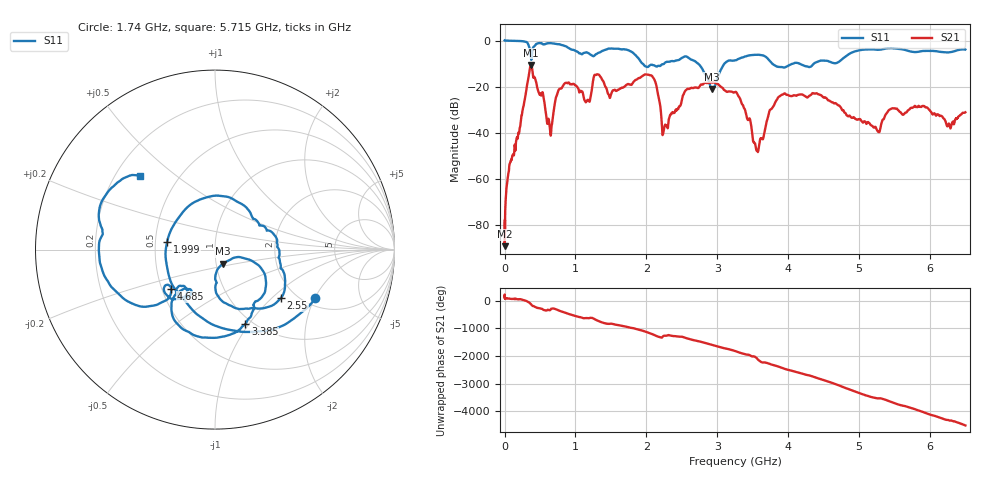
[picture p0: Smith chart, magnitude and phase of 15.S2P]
!Keysight Technologies,E5063A,MY54503115,A.05.08
!Date: Wed Nov 22 14:12:53 2023
!Data & Calibration Information:
!Freq	S11:NONE(--)	S21:NONE(--)	S12:NONE(--)	S22:NONE(--)
# Hz S dB R 50
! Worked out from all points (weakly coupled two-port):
!   10001 points, 100 kHz to 6.5 GHz, reference 50 ohm
!   highest |S21| = -10.56 dB at 374.5 MHz (marker M1); lowest = -89.0 dB at 750 kHz (marker M2)
!   lowest |S11| = -21.0 dB at 2.924 GHz (marker M3), VSWR 1.20, Z = 53.8 - j8.47 ohm
!   |S11| at or under -10 dB: 1.947 GHz to 2.25 GHz (302.7 MHz wide, 14.4 % of centre); 2.73 GHz to 3.1 GHz (370.2 MHz wide, 12.7 % of centre); 3.776 GHz to 4.064 GHz (287.7 MHz wide, 7.34 % of centre) (the widest 3 of 4)
!   S12 and S22 are empty: the file has one direction only
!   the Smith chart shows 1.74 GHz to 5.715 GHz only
!   S11 on the Smith chart (normalised r, x): 1.74 GHz: 2.29, -2.03; 1.999 GHz: 0.58, +0.05; 2.55 GHz: 1.68, -1.14; 3.385 GHz: 0.92, -0.96; 4.685 GHz: 0.56, -0.28; 5.715 GHz: 0.30, +0.38
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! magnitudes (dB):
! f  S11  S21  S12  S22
! 100 kHz  0.0  -87.5  -  -
! 750 kHz  0.0  -89.0  -  -
! 374.5 MHz  -8.1  -10.6  -  -
! 631.9 MHz  -1.1  -36.1  -  -
! 841.8 MHz  -2.3  -18.7  -  -
! 1.084 GHz  -5.9  -22.0  -  -
! 1.74 GHz  -4.1  -18.8  -  -
! 1.999 GHz  -11.4  -14.7  -  -
! 2.167 GHz  -10.9  -23.8  -  -
! 2.252 GHz  -9.9  -37.8  -  -
! 2.55 GHz  -6.8  -21.7  -  -
! 2.924 GHz  -21.0  -18.1  -  -
! 3.25 GHz  -8.6  -22.2  -  -
! 3.385 GHz  -7.0  -29.5  -  -
! 3.565 GHz  -6.1  -47.5  -  -
! 3.876 GHz  -11.5  -24.2  -  -
! 4.334 GHz  -10.9  -23.0  -  -
! 4.685 GHz  -9.7  -27.5  -  -
! 5.269 GHz  -4.0  -39.5  -  -
! 5.417 GHz  -3.3  -30.2  -  -
! 5.715 GHz  -4.7  -29.6  -  -
! 6.5 GHz  -3.9  -31.0  -  -
